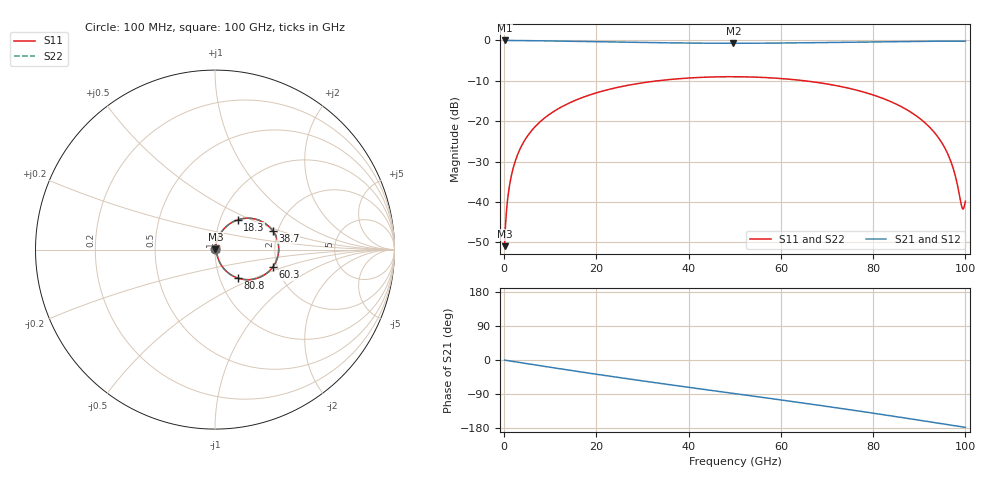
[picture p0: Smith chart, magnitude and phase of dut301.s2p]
! Touchstone file exported from HFSS 2026.1.0
!  File:  C:/ffzhzh/LocalFiles/Ansys_Project_Files/temp_train_RDL_301_1783502358_55944.aedt
!  Generated:  05:20:43 PM Jul  8, 2026
!  Design:  RDL
!  Project:  temp_train_RDL_301_1783502358_55944
! Variables:
!  h_bsmrdl = 2um
!  h_ox = 20um
!  h_rdl = 5um
!  h_sub = 80um
!  h_tmrdl = 3.82um
!  h_tsv = 80um
!  h_via = 3um
!  l_bsmrdl = 300um
!  l_sub = 1006.21um
!  l_tmrdl = 606.21um
!  m_sub = 200um
!  pitch = 42.22um
!  r_tsv = 6um
!  s_tmrdl = 10um
!  w_bsmrdl = 18um
!  w_sub = 500um
!  w_tmrdl = 27.35um
!  x_tsv_center1 = 619.885um
!  x_tsv_center2 = 937.885um
!  x_tsv_center3 = 1571.445um
!  x_tsv_center4 = 1889.445um
!  x_tsv_center5 = 2523.005um
!  x_tsv_center6 = 2841.005um
# GHz S MA R 50.000000
! Terminal data exported
! Port[1] = TM_RDL1_1_T1
! Port[2] = TM_RDL1_1_T2
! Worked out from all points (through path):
!   1000 points, 100 MHz to 100 GHz, reference 50 ohm
!   highest |S21| = -0.02 dB at 100 MHz (marker M1); lowest = -0.7 dB at 49.7 GHz (marker M2)
!   group delay of S21, straight-line fit = 4.83 ps
!   lowest |S11| = -50.9 dB at 100 MHz (marker M3), VSWR 1.01, Z = 50.2 + j0.164 ohm
!   |S11| at or under -10 dB: start of sweep to 33.33 GHz; 65.12 GHz to end of sweep
!   |S22| runs from -50.9 to -9.0 dB; largest |S21 - S12| = 1.7e-14
!   S11 on the Smith chart (normalised r, x): 100 MHz: 1.00, +0.00; 18.3 GHz: 1.21, +0.42; 38.7 GHz: 1.88, +0.45; 60.3 GHz: 1.89, -0.42; 80.8 GHz: 1.22, -0.40; 100 GHz: 1.02, +0.01
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0.1  0.002839 35.1  0.9977 -0.2  0.9977 -0.2  0.002839 35.1
! Gamma 0 0 0 0
! Port Impedance 50 0 50 0
0.9  0.01264 73.6  0.9967 -1.8  0.9967 -1.8  0.01264 73.6
1.6  0.02161 77.6  0.9963 -3.2  0.9963 -3.2  0.02161 77.6
2.7  0.03578 78.3  0.9954 -5.3  0.9954 -5.3  0.03578 78.3
4.2  0.0548 76.7  0.9936 -8.2  0.9936 -8.2  0.0548 76.7
9.1  0.1133 68.6  0.9858 -17.5  0.9858 -17.5  0.1133 68.6
16.8  0.1946 55.2  0.9704 -31.8  0.9704 -31.8  0.1947 55.2
18.3  0.2089 52.6  0.9671 -34.5  0.9671 -34.5  0.2089 52.6
33.4  0.3166 27.0  0.9357 -61.0  0.9357 -61.0  0.3166 27.0
38.7  0.338 18.2  0.9279 -69.9  0.9279 -69.9  0.3381 18.3
49.7  0.355 0.4  0.921 -88.2  0.921 -88.2  0.355 0.4
50.1  0.3549 -0.3  0.921 -88.9  0.921 -88.9  0.355 -0.2
60.3  0.3362 -16.9  0.9271 -105.9  0.9271 -105.9  0.3362 -16.8
66.7  0.3081 -27.5  0.9358 -116.8  0.9358 -116.8  0.3082 -27.4
80.8  0.2037 -51.3  0.9609 -141.8  0.9609 -141.8  0.2038 -51.2
83.4  0.1788 -55.7  0.9652 -146.5  0.9652 -146.5  0.1789 -55.6
89.6  0.1137 -65.5  0.9734 -158.1  0.9734 -158.1  0.1138 -65.5
94  0.06422 -70.5  0.9769 -166.4  0.9769 -166.4  0.06432 -70.6
97  0.03003 -67.7  0.9778 -172.1  0.9778 -172.1  0.03009 -68.0
97.9  0.02014 -61.2  0.9779 -173.8  0.9779 -173.8  0.02016 -61.8
99.2  0.008803 -19.1  0.9778 -176.3  0.9778 -176.3  0.008619 -20.4
100  0.01022 37.6  0.9776 -177.8  0.9776 -177.8  0.009929 38.0
